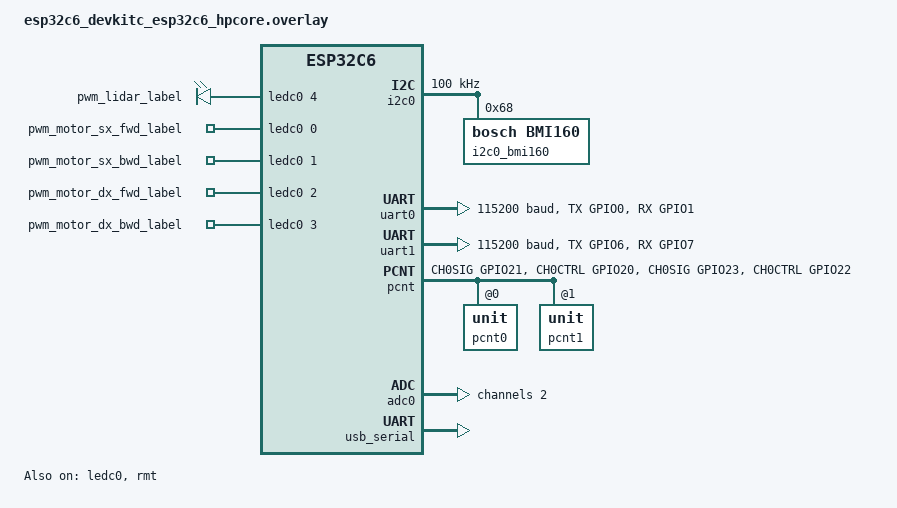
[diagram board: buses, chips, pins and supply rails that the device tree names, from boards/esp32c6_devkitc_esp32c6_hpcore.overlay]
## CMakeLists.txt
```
cmake_minimum_required(VERSION 3.20.0)

find_package(Zephyr REQUIRED HINTS $ENV{ZEPHYR_BASE})
project(robot_app)

set(DTS_ROOT ${CMAKE_CURRENT_SOURCE_DIR})

list(APPEND CMAKE_MODULE_PATH ${ZEPHYR_BASE}/modules/nanopb)
include(nanopb)

if(DISABLE_BATTERY_CHECK)
    target_compile_definitions(app PRIVATE DISABLE_BATTERY_CHECK)
endif()

target_sources(app PRIVATE 
    src/main.cpp
    src/robot.cpp
    src/communication/zephyr_net_client.cpp
    src/communication/wifi_manager.cpp
    src/communication/protobuf_handler.cpp
    src/actuator/motor.cpp
    src/actuator/status_led.cpp
    src/diagnostic.cpp
    src/sensors/lidar.cpp
    src/sensors/imu.cpp
    src/sensors/battery.cpp
    src/sensors/encoders.cpp
    src/sensors/pcnt_reader.c
)

if(CONFIG_BOARD_NATIVE_SIM)
    find_package(PkgConfig REQUIRED)
    pkg_check_modules(GZ_TRANSPORT REQUIRED IMPORTED_TARGET gz-transport)
    pkg_check_modules(GZ_MSGS REQUIRED IMPORTED_TARGET gz-msgs)
    
    # Get Protobuf include directory explicitly to force it first for Gazebo compatibility
    pkg_check_modules(GZ_PROTOBUF REQUIRED protobuf)
    target_include_directories(app BEFORE PRIVATE ${GZ_PROTOBUF_INCLUDE_DIRS})
    
    target_sources(app PRIVATE src/bridge/gazebo_bridge.cpp)
    
    # Provide include directories for Gazebo headers
    target_include_directories(app PRIVATE 
        ${GZ_TRANSPORT_INCLUDE_DIRS} 
        ${GZ_MSGS_INCLUDE_DIRS}
    )

    # Enable C++17 for Gazebo headers
    target_compile_features(app PRIVATE cxx_std_17)
    
    # Prevent Protobuf version check errors
    target_compile_definitions(app PRIVATE 
        PROTOBUF_USE_DLLS
    )
    
    # Link Gazebo libraries using absolute paths for the native_simulator Makefile
    foreach(lib ${GZ_TRANSPORT_LIBRARIES} ${GZ_MSGS_LIBRARIES})
        find_library(LIB_PATH_${lib} NAMES ${lib} HINTS ${GZ_TRANSPORT_LIBRARY_DIRS} ${GZ_MSGS_LIBRARY_DIRS})
        if(LIB_PATH_${lib})
            set_property(TARGET native_simulator APPEND PROPERTY RUNNER_LINK_LIBRARIES ${LIB_PATH_${lib}})
        endif()
    endforeach()

    # Also link Protobuf and its dependencies explicitly as they are required by Gazebo
    foreach(lib ${GZ_PROTOBUF_LIBRARIES})
        find_library(LIB_PATH_${lib} NAMES ${lib} HINTS ${GZ_PROTOBUF_LIBRARY_DIRS})
        if(LIB_PATH_${lib})
            set_property(TARGET native_simulator APPEND PROPERTY RUNNER_LINK_LIBRARIES ${LIB_PATH_${lib}})
        endif()
    endforeach()
endif()

zephyr_nanopb_sources(app ../proto/messages.proto)

target_include_directories(app PRIVATE src)
zephyr_include_directories(include)
add_subdirectory(drivers)

target_compile_options(app PRIVATE $<$<COMPILE_LANGUAGE:CXX>:-fno-threadsafe-statics> $<$<COMPILE_LANGUAGE:CXX>:-fpermissive>)
```

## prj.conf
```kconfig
# General config
CONFIG_CPP=y
CONFIG_STD_CPP20=y
CONFIG_MAIN_STACK_SIZE=16384
CONFIG_IDLE_STACK_SIZE=2048
CONFIG_ISR_STACK_SIZE=4096
CONFIG_SYSTEM_WORKQUEUE_STACK_SIZE=8192
CONFIG_HEAP_MEM_POOL_SIZE=131072

# Logging
CONFIG_LOG=y
CONFIG_LOG_MODE_DEFERRED=y
CONFIG_LOG_DEFAULT_LEVEL=3
CONFIG_LOG_PRINTK=y
CONFIG_CBPRINTF_FP_SUPPORT=y
CONFIG_CBPRINTF_COMPLETE=y

# Console
CONFIG_CONSOLE=y
CONFIG_PRINTK=y
CONFIG_BOOT_BANNER=y

# Networking
CONFIG_NETWORKING=y
CONFIG_NET_IPV4=y
CONFIG_NET_TCP=y
CONFIG_NET_UDP=y
CONFIG_NET_SOCKETS=y

# Protobuf (nanopb)
CONFIG_NANOPB=y
```

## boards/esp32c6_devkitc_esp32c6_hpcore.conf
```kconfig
# Hardware features specific to ESP32-C6 HP Core
CONFIG_PICOLIBC=y
CONFIG_FPU=n

# Bootloader (Using MCUboot)
CONFIG_ESP_SIMPLE_BOOT=n
CONFIG_ESPTOOLPY_FLASHFREQ_40M=y
CONFIG_ESPTOOLPY_FLASHMODE_DIO=y

# Console & Serial
CONFIG_UART_CONSOLE=y
CONFIG_UART_ESP32=y
CONFIG_SERIAL=y
CONFIG_UART_INTERRUPT_DRIVEN=y
CONFIG_SERIAL_ESP32_USB=y
CONFIG_LOG_BACKEND_UART=y

# Wi-Fi Networking
CONFIG_NET_L2_WIFI_MGMT=y
CONFIG_WIFI=y
CONFIG_WIFI_ESP32=y

# WiFi static config via Manager
CONFIG_NET_CONFIG_SETTINGS=y
CONFIG_NET_CONFIG_MY_IPV4_ADDR="192.168.199.123"
CONFIG_NET_CONFIG_MY_IPV4_GW="192.168.199.254"
CONFIG_NET_CONFIG_MY_IPV4_NETMASK="255.255.255.0"

# Sensors
CONFIG_SENSOR=y
CONFIG_I2C=y
CONFIG_BMI160=y
CONFIG_BMI160_TRIGGER_NONE=y

# Peripherals
CONFIG_PWM=y
CONFIG_GPIO=y
CONFIG_ADC=y
CONFIG_PCNT_ESP32=y

# RMT LED
CONFIG_RMT_TX=y
CONFIG_RMT_TX_ESP32=y
CONFIG_RMT_TX_LOG_LEVEL_DBG=y
CONFIG_RMT_TX_INIT_PRIORITY=80
CONFIG_RMT_TX_CHANNEL_INIT_PRIORITY=90

# MCUboot & OTA Configuration
CONFIG_BOOTLOADER_MCUBOOT=y
CONFIG_ZCBOR=y
CONFIG_MCUMGR=y
CONFIG_MCUMGR_TRANSPORT_UDP=y
CONFIG_MCUMGR_GRP_IMG=y
CONFIG_MCUMGR_GRP_OS=y
CONFIG_FLASH=y
CONFIG_FLASH_MAP=y
CONFIG_STREAM_FLASH=y
CONFIG_IMG_MANAGER=y

# Remote syslog over UDP (Wi-Fi)
CONFIG_LOG_BACKEND_NET=y
CONFIG_LOG_BACKEND_NET_SERVER="192.168.199.120:1514"
CONFIG_LOG_BACKEND_NET_AUTOSTART=y
```

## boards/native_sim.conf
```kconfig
# Enable networking for Linux host using offloaded sockets
# This avoids the need for TAP devices and root privileges
CONFIG_NET_DRIVERS=y
CONFIG_NET_SOCKETS=y
CONFIG_NET_UDP=y
CONFIG_NET_TCP=y
CONFIG_NET_IPV4=y
CONFIG_NET_SOCKETS_OFFLOAD=y
CONFIG_NET_NATIVE_OFFLOADED_SOCKETS=y

# Disable native ethernet tap to avoid permission issues
CONFIG_ETH_NATIVE_TAP=n

# Disable hardware-specific configs that don't apply to native_sim
CONFIG_WIFI=n
CONFIG_WIFI_ESP32=n
CONFIG_ADC=n
CONFIG_PWM=n
CONFIG_I2C=n
CONFIG_PCNT_ESP32=n
CONFIG_UART_ESP32=n
CONFIG_SERIAL_ESP32_USB=n
CONFIG_ESP_SIMPLE_BOOT=n
CONFIG_RMT_TX_ESP32=n
CONFIG_RMT_TX=n

# Disable sensor drivers that depend on HW
CONFIG_BMI160=n
CONFIG_BMI160_TRIGGER_NONE=n

# Simulation specific
CONFIG_POSIX_API=y

# Enable host C++ and Libc support
CONFIG_EXTERNAL_LIBC=y
CONFIG_EXTERNAL_LIBCPP=y
CONFIG_CPP=y
CONFIG_STD_CPP17=y
CONFIG_CPP_EXCEPTIONS=y
CONFIG_CPP_RTTI=y


# Disable embedded-specific libs that conflict with host headers
CONFIG_PICOLIBC=n
CONFIG_MINIMAL_LIBC=n
CONFIG_NEWLIB_LIBC=n
```

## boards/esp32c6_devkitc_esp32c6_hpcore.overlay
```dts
#include <zephyr/dt-bindings/pinctrl/esp-pinctrl-common.h>
#include <zephyr/dt-bindings/pinctrl/esp32c6-pinctrl.h>
#include <zephyr/dt-bindings/pinctrl/esp32c6-gpio-sigmap.h>
#include <zephyr/dt-bindings/pwm/pwm.h>

/ {
    chosen {
        zephyr,console = &uart0;
        zephyr,shell-uart = &uart0;
    };

    /* Aliases for easy access in code */
    aliases {
        lidar-uart = &uart1;
        imu = &i2c0_bmi160;
        motor-sx-fwd-pwm = &pwm_motor_sx_fwd_label;
        motor-sx-bwd-pwm = &pwm_motor_sx_bwd_label;
        motor-dx-fwd-pwm = &pwm_motor_dx_fwd_label;
        motor-dx-bwd-pwm = &pwm_motor_dx_bwd_label;
        encoder-sx = &pcnt;
        encoder-dx = &pcnt;
        status-led = &rmt_led;
        lidar-pwm = &pwm_lidar_label;
    };

    soc {
        rmt: rmt@60006000 {
            compatible = "espressif,esp32-rmt-tx";
            reg = <0x60006000 0x1000>;
            interrupts = <10 0 0>;
            interrupt-parent = <&intc>;
            clocks = <&clock 9>;
            #address-cells = <1>;
            #size-cells = <0>;
            status = "okay";
            pinctrl-0 = <&rmt_default>;
            pinctrl-names = "default";

            rmt_led: channel@0 {
                reg = <0>;
                label = "rmt_led";
                gpios = <&gpio0 8 GPIO_ACTIVE_HIGH>;
            };
        };
    };

    pwm_lidar_group {
        compatible = "pwm-leds";
        pwm_lidar_label: lidar_pwm {
            pwms = <&ledc0 4 50000 PWM_POLARITY_NORMAL>;
        };
    };

    pwm_motors {
        compatible = "pwm-leds";
        pwm_motor_sx_fwd_label: motor_sx_fwd {
            pwms = <&ledc0 0 50000 PWM_POLARITY_NORMAL>;
        };
        pwm_motor_sx_bwd_label: motor_sx_bwd {
            pwms = <&ledc0 1 50000 PWM_POLARITY_NORMAL>;
        };
        pwm_motor_dx_fwd_label: motor_dx_fwd {
            pwms = <&ledc0 2 50000 PWM_POLARITY_NORMAL>;
        };
        pwm_motor_dx_bwd_label: motor_dx_bwd {
            pwms = <&ledc0 3 50000 PWM_POLARITY_NORMAL>;
        };
    };
};

&pinctrl {
    i2c0_default: i2c0_default {
        group1 {
            pinmux = <I2C0_SDA_GPIO4>,
                     <I2C0_SCL_GPIO5>;
            bias-pull-up;
            drive-open-drain;
            output-enable;
        };
    };

    uart0_default: uart0_default {
        group1 {
            pinmux = <UART0_TX_GPIO0>,
                     <UART0_RX_GPIO1>;
        };
    };

    uart0_sleep: uart0_sleep {
        group1 {
            pinmux = <UART0_TX_GPIO0>,
                     <UART0_RX_GPIO1>;
        };
    };

    uart1_default: uart1_default {
        group1 {
            pinmux = <UART1_TX_GPIO6>;
        };
        group2 {
            pinmux = <UART1_RX_GPIO7>;
            bias-pull-up;
        };
    };

    uart1_sleep: uart1_sleep {
        group1 {
            pinmux = <UART1_TX_GPIO6>,
                     <UART1_RX_GPIO7>;
        };
    };

    ledc0_default: ledc0_default {
        group1 {
            pinmux = <LEDC_CH0_GPIO19>,
                     <LEDC_CH1_GPIO18>,
                     <LEDC_CH2_GPIO11>,
                     <LEDC_CH3_GPIO10>,
                     <LEDC_CH4_GPIO3>;
            output-enable;
        };
    };

    pcnt_default: pcnt_default {
        group1 {
            pinmux = <PCNT0_CH0SIG_GPIO21>,
                     <PCNT0_CH0CTRL_GPIO20>,
                     <PCNT1_CH0SIG_GPIO23>,
                     <PCNT1_CH0CTRL_GPIO22>;
            bias-pull-up;
        };
    };

    rmt_default: rmt_default {
        group1 {
            pinmux = <ESP32_PINMUX(8, ESP_NOSIG, ESP_RMT_SIG_OUT0)>;
            output-enable;
        };
    };
};

&i2c0 {
    status = "okay";
    pinctrl-0 = <&i2c0_default>;
    pinctrl-names = "default";
    clock-frequency = <I2C_BITRATE_STANDARD>;

    i2c0_bmi160: bmi160@68 {
        compatible = "bosch,bmi160";
        reg = <0x68>;
        status = "okay";
    };
};

&uart0 {
    status = "okay";
    pinctrl-0 = <&uart0_default>;
    pinctrl-1 = <&uart0_sleep>;
    pinctrl-names = "default", "sleep";
    current-speed = <115200>;
};

&uart1 {
    status = "okay";
    pinctrl-0 = <&uart1_default>;
    pinctrl-1 = <&uart1_sleep>;
    pinctrl-names = "default", "sleep";
    current-speed = <115200>;
};

&ledc0 {
    status = "okay";
    pinctrl-0 = <&ledc0_default>;
    pinctrl-names = "default";
    #address-cells = <1>;
    #size-cells = <0>;

    pwm_motor_sx_fwd: channel@0 {
        reg = <0>;
        timer = <0>;
    };

    pwm_motor_sx_bwd: channel@1 {
        reg = <1>;
        timer = <0>;
    };

    pwm_motor_dx_fwd: channel@2 {
        reg = <2>;
        timer = <0>;
    };

    pwm_motor_dx_bwd: channel@3 {
        reg = <3>;
        timer = <0>;
    };
 
    pwm_lidar: channel@4 {
        reg = <4>;
        timer = <0>;
    };
};

&pcnt {
    pinctrl-0 = <&pcnt_default>;
    pinctrl-names = "default";
    status = "okay";
    #address-cells = <1>;
    #size-cells = <0>;
    pcnt0: unit@0 {
        reg = <0>;
        #address-cells = <1>;
        #size-cells = <0>;
        filter = <1023>;
        channelA@0 {
            reg = <0>;
            sig-pos-mode = <2>;
            sig-neg-mode = <1>;
            ctrl-h-mode = <0>;
            ctrl-l-mode = <1>;
        };
    };
    pcnt1: unit@1 {
        reg = <1>;
        #address-cells = <1>;
        #size-cells = <0>;
        filter = <1023>;
        channelA@0 {
            reg = <0>;
            sig-pos-mode = <2>;
            sig-neg-mode = <1>;
            ctrl-h-mode = <0>;
            ctrl-l-mode = <1>;
        };
    };
};

&adc0 {
    status = "okay";
    #address-cells = <1>;
    #size-cells = <0>;

    channel@2 {
        reg = <2>;
        zephyr,gain = "ADC_GAIN_1_4";
        zephyr,reference = "ADC_REF_INTERNAL";
        zephyr,acquisition-time = <ADC_ACQ_TIME_DEFAULT>;
        zephyr,resolution = <12>;
    };
};

&usb_serial {
    status = "okay";
};

&flash0 {
    partitions {
        compatible = "fixed-partitions";
        #address-cells = <1>;
        #size-cells = <1>;

        boot_partition: partition@0 {
            label = "mcuboot";
            reg = <0x00000000 0x00010000>;
        };
        slot0_partition: partition@10000 {
            label = "image-0";
            reg = <0x00010000 0x00200000>;
        };
        slot1_partition: partition@210000 {
            label = "image-1";
            reg = <0x00210000 0x00200000>;
        };
        scratch_partition: partition@410000 {
            label = "image-scratch";
            reg = <0x00410000 0x00040000>;
        };
        storage_partition: partition@450000 {
            label = "storage";
            reg = <0x00450000 0x00010000>;
        };
    };
};
```

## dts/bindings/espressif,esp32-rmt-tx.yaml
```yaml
description: Espressif ESP32 RMT TX peripheral

compatible: "espressif,esp32-rmt-tx"

include: [base.yaml, pinctrl-device.yaml]

properties:
  reg:
    required: true
  interrupts:
    required: true
  clocks:
    required: true

child-binding:
  description: RMT TX channel
  properties:
    reg:
      required: true
      type: int
      description: Channel index
    label:
      type: string
      description: Human readable name
    gpios:
      required: true
      type: phandle-array
    invert_out:
      type: boolean
      description: Invert the output signal
```

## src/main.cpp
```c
#include <zephyr/kernel.h>
#include <zephyr/sys/printk.h>
#include "robot.h"
#include "constants.h"

#if defined(CONFIG_BOARD_NATIVE_SIM)
#include "bridge/gazebo_bridge.h"
#endif

#if !defined(CONFIG_BOARD_NATIVE_SIM)
extern "C" {
#include <esp_rom_sys.h>
}
#endif

extern "C" int main(void)
{
#if defined(CONFIG_BOARD_NATIVE_SIM)
    printk("\n\n--- HomeRobot Zephyr native_sim Entry Point ---\n");
#else
    esp_rom_printf("\n\n--- HomeRobot Zephyr Entry Point ---\n");
#endif

    k_sleep(K_MSEC(500));

    static Robot robot;
    robot.setup();

    while (1) {
        robot.loop();
        k_msleep(constants::MAIN_LOOP_DELAY_MS);
        k_yield();
    }

	return 0;
}
```

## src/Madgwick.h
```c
//=============================================================================================
// Madgwick.h
//=============================================================================================
//
// Implementation of Madgwick's IMU and AHRS algorithms.
// See: http://www.x-io.co.uk/open-source-imu-and-ahrs-algorithms/
//
// From the x-io website "Open-source resources available on this website are
// provided under the GNU General Public Licence unless an alternative licence
// is provided in source."
//
// Date			Author          Notes
// 29/09/2011	SOH Madgwick    Initial release
// 02/10/2011	SOH Madgwick	Optimised for reduced CPU load
//
//=============================================================================================
#ifndef __Madgwick_h__
#define __Madgwick_h__
#include <math.h>
#include <stdint.h>

//--------------------------------------------------------------------------------------------
// Variable declaration
class Madgwick {
  private:
    float delta_t = 0; // Used to control display output rate
    uint32_t now = 0;        // used to calculate integration interval
    uint32_t last_update = 0; // used to calculate integration interval
    static float invSqrt(float x);
    float beta;				// algorithm gain
    float q0;
    float q1;
    float q2;
    float q3;	// quaternion of sensor frame relative to auxiliary frame
    

    //-------------------------------------------------------------------------------------------
    // Function declarations
  public:
    Madgwick(void);
    void changeBeta(float newBeta) { beta = newBeta; }
    void begin(float confBeta) { beta = confBeta; }
    void update(float gx, float gy, float gz, float ax, float ay, float az, float mx, float my, float mz);
    void updateIMU(float gx, float gy, float gz, float ax, float ay, float az);

    float getQuatW() {
      return q0;
    }

    float getQuatX() {
      return q1;
    }

    float getQuatY() {
      return q2;
    }

    float getQuatZ() {
      return q3;
    }

};
#endif
```

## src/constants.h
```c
#pragma once

#include <zephyr/kernel.h>

namespace constants {
    // Telemetry Intervals (milliseconds)
    constexpr uint32_t HEARTBEAT_INTERVAL_MS = 1000;
    constexpr uint32_t ENCODER_TELEMETRY_INTERVAL_MS = 1000;
    constexpr uint32_t BATTERY_TELEMETRY_INTERVAL_MS = 30000;
    
    // Lidar Configuration
    constexpr size_t LIDAR_BATCH_SIZE = 30;
    constexpr float LIDAR_DEFAULT_FREQ_HZ = 5.0f;

    // Networking
    constexpr uint32_t WIFI_CONNECT_TIMEOUT_MS = 30000;
    constexpr uint32_t SERVER_RECONNECT_INTERVAL_MS = 5000;

    // Main Loop
    constexpr uint32_t MAIN_LOOP_DELAY_MS = 5; // 200Hz loop

    // Robot Capabilities & Specifications
    constexpr bool HAS_ACCELEROMETER = true;
    constexpr bool HAS_GYROSCOPE = true;
    constexpr bool HAS_MAGNETOMETER = false; // BMI160 only has accel/gyro
    constexpr float WHEEL_DIAMETER_MM = 79.85f;
    constexpr float WHEEL_TRACK_MM = 240.0f;
    constexpr int32_t ENCODER_TICKS_PER_REV = 360;
}
```

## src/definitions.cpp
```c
#include "definitions.h"

#include <Elog.h>
#include <Wire.h>

#include "actuator/Motor_PID/Motor_PID.h"
#include "communication/protocol.h"
#include "secrets.h"

Encoder* encoder_sx;
Encoder* encoder_dx;
Motor* motor_sx;
Motor* motor_dx;

Protocol* protocol;

// Fix build error TODO investigate real solution
extern "C" void lwip_hook_ip6_input() {}

void init_wifi() {
  // Set static IP
  if (!WiFi.config(local_IP, gateway, subnet)) {
    Logger.error(PROTO_LOGGER, "Failed to configure static IP");
  }

  WiFi.begin(wifi_ssid, wifi_password);

  int retries = 5;
  while (WiFi.status() != WL_CONNECTED && retries-- > 0) {
    Logger.info(PROTO_LOGGER, "Trying to connect to WiFi...");
    delay(2000);
  }
  if (WiFi.status() != WL_CONNECTED) {
    // TODO this could lead to boot loops
    Logger.error(PROTO_LOGGER, "Unable to connect to WiFi restarting ESP");
    ESP.restart();
  }

  Logger.info(PROTO_LOGGER, "Connected to WiFi");
}

void restart_wifi() {
  Logger.error(PROTO_LOGGER, "WiFi restart");
  WiFi.disconnect();
  WiFi.reconnect();
  sleep(1);
  init_wifi();
}

void init_i2c() {
  Logger.debug(MAIN_LOGGER, "INIT I2C");

  Wire.begin(I2C_SDA, I2C_SCL);
#ifdef WIRE_HAS_TIMEOUT
  Wire.setWireTimeout(30000);
  Logger.info(MAIN_LOGGER, "Timeout");
#endif
}
void init_server_connection() { protocol = new Protocol(); }

void init_motors() {
  Logger.info(MOTOR_LOGGER, "INIT MOTORS - START");
  encoder_sx = new Encoder(ENCODER_SX_A, ENCODER_SX_B);
  encoder_dx = new Encoder(ENCODER_DX_A, ENCODER_DX_B);

  motor_sx =
      new Motor("SX", encoder_sx, MOTOR_SX_FORWARD, MOTOR_SX_BACKWARD, MOTOR_SX_PWM,
                MOTOR_PWM_LOWER_LIMIT, MOTOR_PWM_UPPER_LIMIT);
  motor_dx =
      new Motor("DX", encoder_dx, MOTOR_DX_FORWARD, MOTOR_DX_BACKWARD, MOTOR_DX_PWM,
                MOTOR_PWM_LOWER_LIMIT, MOTOR_PWM_UPPER_LIMIT);

  // Logger.info(MAIN_LOGGER, "SX: %d", encoder_dx->get_interrupts());// SX: 2
  // Logger.info(MAIN_LOGGER, "DX: %d", encoder_dx->get_interrupts());// DX: 2

  motor_sx->init(KP, KI, KD);
  motor_dx->init(KP, KI, KD);
  Logger.info(MOTOR_LOGGER, "INIT MOTORS - END");
}
```

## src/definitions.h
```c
#pragma once

#include <Encoder.h>
#include <HardwareSerial.h>
#include <communication/protocol.h>

#include "actuator/Motor_PID/Motor_PID.h"

#define MAIN_LOGGER 0
#define PROTO_LOGGER 1
#define MOTOR_LOGGER 2
#define LIDAR_LOGGER 3
#define IMU_LOGGER 4



// General motor settings
#define MOTOR_PWM_LOWER_LIMIT 63   // full range 0 - 255
#define MOTOR_PWM_UPPER_LIMIT 255  // full range 0 - 255

// NXT MOTOR: https://trivox.tripod.com/lego-nxt-motor-input-output.html
// MOTOR SX
#define ENCODER_SX_A 21       // BLUE from NXT motor encoder
#define ENCODER_SX_B 20       // YELLOW from NXT motor encoder
#define MOTOR_SX_BACKWARD 18   // in2 from driver to control the direction
#define MOTOR_SX_FORWARD 19  // in1 from driver to control the direction
#define MOTOR_SX_PWM 0        // pwm to control speed pin 0 for full speed

// MOTOR DX
#define ENCODER_DX_A 23       // BLUE from NXT motor encoder
#define ENCODER_DX_B 22       // YELLOW from NXT motor encoder
#define MOTOR_DX_FORWARD 11   // in2 from driver pins to control the direction
#define MOTOR_DX_BACKWARD 10  // in1 from driver pins to control the direction
#define MOTOR_DX_PWM 0        // pwm to control speed pin 0 for full speed

// PID constants
#define KP 1.0
#define KI 0.01
#define KD 0.1

// I2C pins
#define I2C_SDA 4
#define I2C_SCL 5

// Physical sizes
#define CENTER_TO_WHEEL 100  // millimeters TODO freecad check
#define CENTER_TO_LIDAR 100  // Millimeters TODO freecad check

extern int pwm_lower_limit;
extern int pwm_upper_limit;

extern Encoder* encoder_sx;
extern Motor* motor_sx;
extern Encoder* encoder_dx;
extern Motor* motor_dx;

extern Protocol* protocol;

void init_wifi();
void restart_wifi();
void init_i2c();
void init_server_connection();
void init_motors();
```

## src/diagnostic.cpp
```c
#include "diagnostic.h"
#include <zephyr/logging/log.h>
#include <zephyr/kernel.h>
#include <math.h>
#include <stdio.h>
#include <string.h>

LOG_MODULE_REGISTER(Diagnostic, LOG_LEVEL_INF);

Diagnostic::Diagnostic(Motor& left_motor, Motor& right_motor, Imu& imu, 
                       Battery& battery, StatusLed& led)
    : left_motor_(left_motor), right_motor_(right_motor), imu_(imu), 
      battery_(battery), led_(led) {}

void Diagnostic::add_check(homerobot_DiagnosticResult& result, const char* name, bool success, const char* msg) {
    if (result.checks_count < 5) {
        homerobot_DiagnosticCheck& check = result.checks[result.checks_count++];
        strncpy(check.name, name, sizeof(check.name) - 1);
        check.name[sizeof(check.name) - 1] = '\0';
        check.success = success;
        strncpy(check.message, msg, sizeof(check.message) - 1);
        check.message[sizeof(check.message) - 1] = '\0';
    }
}

homerobot_DiagnosticResult Diagnostic::run_rpc() {
    homerobot_DiagnosticResult result = homerobot_DiagnosticResult_init_default;
    result.checks_count = 0;
    
    // Stop motors and lidar before test
    left_motor_.turn_off();
    right_motor_.turn_off();

    bool battery_ok = test_battery(&result);
    bool imu_ok = test_imu(&result);
    bool motors_ok = false;

    if (battery_ok) {
        motors_ok = test_motors_and_encoders(&result);
    } else {
        add_check(result, "Motors", false, "Skipped due to low battery");
    }

    result.all_ok = battery_ok && imu_ok && motors_ok;
    return result;
}

bool Diagnostic::run_all() {
    LOG_INF( "--- STARTING HARDWARE DIAGNOSTICS ---");
    
    // 1. LED Test: Visual confirmation
    led_.set_color(0, 0, 50); // Blue for "Testing"
    k_msleep(500);
    led_.set_color(0, 50, 0); // Green for "Starting"
    k_msleep(500);
    led_.set_color(0, 0, 0);

    bool battery_ok = test_battery();
    bool imu_ok = test_imu();
    
    if (!battery_ok) {
        LOG_ERR( "Critical: Battery test failed!");
        led_.set_color(50, 0, 0); // Solid Red
        return false;
    }

    if (!imu_ok) {
        LOG_WRN( "Warning: IMU test failed!");
    }

    bool motors_ok = test_motors_and_encoders();

    if (battery_ok && imu_ok && motors_ok) {
        LOG_INF( "--- DIAGNOSTICS COMPLETED: ALL OK ---");
        led_.set_color(0, 50, 0); // Success Green
        k_msleep(1000);
        return true;
    } else {
        LOG_WRN( "--- DIAGNOSTICS COMPLETED: ERRORS FOUND ---");
        led_.set_color(50, 25, 0); // Warning Orange
        k_msleep(1000);
        return false;
    }
}

bool Diagnostic::test_battery(homerobot_DiagnosticResult* result) {
    uint32_t mv = battery_.get_voltage_mv();
    uint32_t pct = battery_.get_percentage();
    LOG_INF( "Battery: %u mV (%u%%)", mv, pct);

    char msg[128];
    snprintf(msg, sizeof(msg), "Voltage: %u mV, %u%%", mv, pct);

    if (mv < 10000) { 
        LOG_ERR( "Battery voltage dangerously low or not detected!");
        if (result) add_check(*result, "Battery", false, msg);
        return false;
    }
    if (result) add_check(*result, "Battery", true, msg);
    return true;
}

bool Diagnostic::test_imu(homerobot_DiagnosticResult* result) {
    LOG_INF("IMU: Starting detailed check...");
    if (!imu_.update()) {
        LOG_ERR( "IMU: Communication failed! (sample_fetch error)");
        if (result) add_check(*result, "IMU", false, "Communication failed");
        return false;
    }

    float ax, ay, az, gx, gy, gz;
    imu_.get_accel(ax, ay, az);
    imu_.get_gyro(gx, gy, gz);
    
    float total_g = sqrt(ax*ax + ay*ay + az*az);
    
    LOG_INF("IMU: Raw Accel -> X: %.3f, Y: %.3f, Z: %.3f (Total: %.3f m/s^2)", (double)ax, (double)ay, (double)az, (double)total_g);
    LOG_INF("IMU: Raw Gyro  -> X: %.3f, Y: %.3f, Z: %.3f", (double)gx, (double)gy, (double)gz);

    char msg[128];
    snprintf(msg, sizeof(msg), "Acc:%.1f G:%.1f Gyro:%.1f", (double)total_g, (double)(total_g/9.81f), (double)sqrt(gx*gx + gy*gy + gz*gz));

    if (total_g < 7.0f || total_g > 13.0f) {
        LOG_WRN( "IMU: Gravity vector (%.2f) outside Earth normal range [7, 13]", (double)total_g);
        if (result) add_check(*result, "IMU", false, msg);
        return false;
    }
    
    LOG_INF("IMU: Sensor health OK.");
    if (result) add_check(*result, "IMU", true, msg);
    return true;
}

bool Diagnostic::test_motors_and_encoders(homerobot_DiagnosticResult* result) {
    LOG_INF( "Starting Motor/Encoder sequential test...");
    
    bool left_ok = test_single_motor(left_motor_, "Left Motor (SX)", result);
    k_msleep(500); // Brief pause between motor tests
    bool right_ok = test_single_motor(right_motor_, "Right Motor (DX)", result);

    return left_ok && right_ok;
}

bool Diagnostic::test_single_motor(Motor& motor, const char* name, homerobot_DiagnosticResult* result) {
    LOG_INF( "Testing %s...", name);
    
    // Get baseline IMU for vibration detection
    imu_.update();
    float bax, bay, baz;
    imu_.get_accel(bax, bay, baz);
    
    VibrationMetrics vib;
    vib.reset();

    motor.set_position(0);
    int32_t start_pos = motor.get_position();
    
    // Forward test
    motor.set_motor(FORWARD, 100);
    for (int i = 0; i < 5; i++) {
        k_msleep(100);
        sample_vibration(vib, bax, bay, baz);
    }
    
    motor.set_motor(BRAKE, 0);
    k_msleep(200);
    int32_t fwd_pos = motor.get_position();
    int32_t fwd_diff = fwd_pos - start_pos;
    
    // Backward test
    motor.set_motor(BACKWARD, 100);
    for (int i = 0; i < 5; i++) {
        k_msleep(100);
        sample_vibration(vib, bax, bay, baz);
    }

    motor.set_motor(BRAKE, 0);
    k_msleep(200);
    int32_t bwd_pos = motor.get_position();
    int32_t bwd_diff = bwd_pos - fwd_pos;
    
    bool fwd_ok = fwd_diff > 10;
    bool bwd_ok = bwd_diff < -10;
    
    // Health assessment based on vibration
    // Values are heuristic: > 5.0g deviation is very high, > 20 rad/s gyro is very high.
    bool vib_ok = vib.max_acc_vibration < 5.0f && vib.max_gyro_vibration < 15.0f;

    char msg[128];
    snprintf(msg, sizeof(msg), "Fwd:%d Bwd:%d Vib:%.1f/%.1f", 
             fwd_diff, bwd_diff, (double)vib.max_acc_vibration, (double)vib.max_gyro_vibration);

    if (!fwd_ok || !bwd_ok) {
        LOG_ERR( "%s: Failed motion test (%s)", name, msg);
        if (result) add_check(*result, name, false, msg);
        return false;
    }

    if (!vib_ok) {
        LOG_WRN( "%s: High vibration detected! (%s)", name, msg);
        // We still pass the test but report the warning in the message
    }

    if (result) add_check(*result, name, true, msg);
    return true;
}

void Diagnostic::sample_vibration(VibrationMetrics& metrics, float bax, float bay, float baz) {
    if (imu_.update()) {
        float ax, ay, az, gx, gy, gz;
        imu_.get_accel(ax, ay, az);
        imu_.get_gyro(gx, gy, gz);
        
        // Deviation from baseline gravity vector
        float dev_acc = sqrtf(powf(ax - bax, 2) + powf(ay - bay, 2) + powf(az - baz, 2));
        float dev_gyro = sqrtf(gx*gx + gy*gy + gz*gz);
        
        if (dev_acc > metrics.max_acc_vibration) metrics.max_acc_vibration = dev_acc;
        if (dev_gyro > metrics.max_gyro_vibration) metrics.max_gyro_vibration = dev_gyro;

        LOG_DBG( "  [Vib Sample] Acc Dev: %.2f Gyro: %.2f", (double)dev_acc, (double)dev_gyro);
    }
}
```

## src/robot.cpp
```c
#include "robot.h"
#include <pb_decode.h>
#include <pb_encode.h>
#include <zephyr/logging/log.h>
#include <zephyr/sys/printk.h>
#include "secrets.h"
#include "constants.h"

#if defined(CONFIG_BOARD_NATIVE_SIM)
#include "bridge/gazebo_bridge.h"
#endif

LOG_MODULE_REGISTER(robot, LOG_LEVEL_INF);

using namespace constants;

#if !defined(CONFIG_BOARD_NATIVE_SIM)
// Define static DT specs
const struct device *const Robot::lidar_uart_dev = DEVICE_DT_GET(DT_ALIAS(lidar_uart));
const struct pwm_dt_spec Robot::lidar_pwm = PWM_DT_SPEC_GET(DT_ALIAS(lidar_pwm));
const struct device *const Robot::adc_dev = DEVICE_DT_GET(DT_NODELABEL(adc0));
const struct device *const Robot::imu_dev = DEVICE_DT_GET(DT_ALIAS(imu));
const struct pwm_dt_spec Robot::motor_sx_fwd = PWM_DT_SPEC_GET(DT_ALIAS(motor_sx_fwd_pwm));
const struct pwm_dt_spec Robot::motor_sx_bwd = PWM_DT_SPEC_GET(DT_ALIAS(motor_sx_bwd_pwm));
const struct pwm_dt_spec Robot::motor_dx_fwd = PWM_DT_SPEC_GET(DT_ALIAS(motor_dx_fwd_pwm));
const struct pwm_dt_spec Robot::motor_dx_bwd = PWM_DT_SPEC_GET(DT_ALIAS(motor_dx_bwd_pwm));
const struct device *const Robot::encoder_dev = DEVICE_DT_GET(DT_ALIAS(encoder_sx));
#else
// Dummy values for simulation
const struct device *const Robot::lidar_uart_dev = nullptr;
const struct pwm_dt_spec Robot::lidar_pwm = {0};
const struct device *const Robot::adc_dev = nullptr;
const struct device *const Robot::imu_dev = nullptr;
const struct pwm_dt_spec Robot::motor_sx_fwd = {0};
const struct pwm_dt_spec Robot::motor_sx_bwd = {0};
const struct pwm_dt_spec Robot::motor_dx_fwd = {0};
const struct pwm_dt_spec Robot::motor_dx_bwd = {0};
const struct device *const Robot::encoder_dev = nullptr;
#endif

Robot::Robot()
    : status_led_(),
      battery_(adc_dev, 2),
      lidar_(lidar_uart_dev, &lidar_pwm),
      imu_(imu_dev),
      enc_sx_(encoder_dev, 0),
      enc_dx_(encoder_dev, 1),
      motor_sx_("SX", &motor_sx_fwd, &motor_sx_bwd, &enc_sx_, true),
      motor_dx_("DX", &motor_dx_fwd, &motor_dx_bwd, &enc_dx_, false),
      wifi_(WifiManager::instance()),
      net_client_(),
      proto_handler_(net_client_),
      diagnostic_(motor_sx_, motor_dx_, imu_, battery_, status_led_) {
    LOG_DBG("Robot object constructed");
}

void Robot::setup() {
    LOG_INF("--- Robot State Machine Starting ---");
#if defined(CONFIG_BOARD_NATIVE_SIM)
    GazeboBridge::init();
    GazeboBridge::start();
#endif
    status_led_.init();
    battery_.init();
    LOG_INF("Initial State: %s", state_to_string(state_));
}

void Robot::set_state(RobotState new_state) {
    if (state_ == new_state) return;
    LOG_INF("State Transition: %s -> %s", state_to_string(state_), state_to_string(new_state));
    state_ = new_state;
}

const char* Robot::state_to_string(RobotState state) {
    switch (state) {
        case RobotState::POWER_CHECK: return "POWER_CHECK";
        case RobotState::INITIALIZE_HARDWARE: return "INITIALIZE_HARDWARE";
        case RobotState::WIFI_CONNECTING: return "WIFI_CONNECTING";
        case RobotState::SERVER_CONNECTING: return "SERVER_CONNECTING";
        case RobotState::OPERATIONAL: return "OPERATIONAL";
        default: return "UNKNOWN";
    }
}

void Robot::loop() {
    switch (state_) {
        case RobotState::POWER_CHECK:
            handle_power_check();
            break;
        case RobotState::INITIALIZE_HARDWARE:
            handle_initialize_hardware();
            break;
        case RobotState::WIFI_CONNECTING:
            handle_wifi_connecting();
            break;
        case RobotState::SERVER_CONNECTING:
            handle_server_connecting();
            break;
        case RobotState::OPERATIONAL:
            handle_operational();
            break;
    }
 
    // Handle Lidar stop timeout on server disconnection
    if (state_ != RobotState::OPERATIONAL && !lidar_stopped_due_to_disconnect_) {
        if (disconnect_time_ms_ != 0 && k_uptime_get_32() - disconnect_time_ms_ >= 10000) {
            LOG_INF("Disconnected from server for >= 10s. Stopping Lidar...");
            lidar_.stop();
            lidar_stopped_due_to_disconnect_ = true;
        }
    }
 
    motor_sx_.loop();
    motor_dx_.loop();

    if (motion_active_) {
        if (motor_sx_.target_reached(false) && motor_dx_.target_reached(false)) {
            LOG_INF("ExecuteMotion: Target reached successfully");
            motor_sx_.target_reached(true);
            motor_dx_.target_reached(true);
            motor_sx_.set_manual_power(BRAKE, 0);
            motor_dx_.set_manual_power(BRAKE, 0);
            proto_handler_.send_rpc_response(k_uptime_get_32(), active_motion_call_id_, nullptr, 0);
            motion_active_ = false;
        } else if (k_uptime_get_32() - motion_start_time_ms_ > 10000) { // 10s timeout
            LOG_WRN("ExecuteMotion: Safety timeout exceeded");
            motor_sx_.target_reached(true);
            motor_dx_.target_reached(true);
            motor_sx_.set_manual_power(BRAKE, 0);
            motor_dx_.set_manual_power(BRAKE, 0);
            proto_handler_.send_rpc_response(k_uptime_get_32(), active_motion_call_id_, nullptr, 0, "Timeout");
            motion_active_ = false;
        }
    }

    lidar_.loop(&proto_handler_);
    status_led_.update();
}

void Robot::handle_power_check() {
    uint32_t voltage = battery_.get_voltage_mv();
#if defined(DISABLE_BATTERY_CHECK)
    LOG_INF("Power check bypassed (bench power supply mode). Voltage: %u mV", voltage);
#else
    if (voltage < 10000) {
        status_led_.set_status(RobotStatus::LOW_BATTERY);
        static uint32_t last_log = 0;
        if (k_uptime_get_32() - last_log > 2000) {
            LOG_WRN("LOW POWER: %u mV - Please turn on battery switch", voltage);
            last_log = k_uptime_get_32();
        }
        return;
    }
    LOG_INF("Power OK: %u mV", voltage);
#endif

#if defined(CONFIG_BOARD_NATIVE_SIM)
    set_state(RobotState::INITIALIZE_HARDWARE);
#else
    LOG_INF("Starting Wi-Fi connection early...");
    wifi_.connect(wifi_ssid, wifi_password);
    status_led_.set_status(RobotStatus::NO_WIFI);
    set_state(RobotState::WIFI_CONNECTING);
#endif
}

void Robot::handle_initialize_hardware() {
    LOG_INF("Initializing hardware components...");
    enc_sx_.init();
    enc_dx_.init();
    imu_.init();
    LOG_INF("Initializing Lidar...");
    lidar_.init();
    motor_sx_.init(motor_kp_, motor_ki_, motor_kd_);
    motor_dx_.init(motor_kp_, motor_ki_, motor_kd_);
    hardware_initialized_ = true;

    LOG_INF("Hardware ready. Connecting to server...");
    set_state(RobotState::SERVER_CONNECTING);
}

void Robot::handle_wifi_connecting() {
    if (wifi_.is_connected()) {
        LOG_INF("Wi-Fi connected.");
        if (!hardware_initialized_) {
            set_state(RobotState::INITIALIZE_HARDWARE);
        } else {
            set_state(RobotState::SERVER_CONNECTING);
        }
    } else {
        status_led_.set_status(RobotStatus::NO_WIFI);
        
        static uint32_t last_connect_attempt = 0;
        uint32_t now = k_uptime_get_32();
        if (now - last_connect_attempt > 5000) {
            LOG_INF("Retrying Wi-Fi connection...");
            wifi_.connect(wifi_ssid, wifi_password);
            last_connect_attempt = now;
        }
    }
}

void Robot::handle_server_connecting() {
#if !defined(CONFIG_BOARD_NATIVE_SIM)
    if (!wifi_.is_connected()) {
        LOG_WRN("Wi-Fi lost while connecting to server.");
        set_state(RobotState::WIFI_CONNECTING);
        return;
    }
#endif

    status_led_.set_status(RobotStatus::WIFI_ONLY);
    
    const char* server_host = wifi_server_host;
#if defined(CONFIG_BOARD_NATIVE_SIM)
    server_host = "127.0.0.1";
#endif

    LOG_INF("Connecting to server: %s:%d", server_host, wifi_server_port);

    if (net_client_.connect(server_host, wifi_server_port)) {
        LOG_INF("CONNECTED to server at %s:%d", server_host, wifi_server_port);
        status_led_.set_status(RobotStatus::CONNECTED);
        
        // Small delay to ensure the network stack is ready for transmission
        k_msleep(100);
        
        // Send current config on connection
        if (net_client_.connected()) {
            proto_handler_.send_robot_config(k_uptime_get_32(),
                motor_kp_, motor_ki_, motor_kd_, motor_kp_, motor_ki_, motor_kd_, lidar_frequency_);
            
            // Send capabilities on connection
            proto_handler_.send_robot_capabilities(k_uptime_get_32(),
                HAS_ACCELEROMETER,
                HAS_GYROSCOPE,
                HAS_MAGNETOMETER,
                WHEEL_DIAMETER_MM,
                WHEEL_TRACK_MM,
                ENCODER_TICKS_PER_REV
            );
        }
        
        // Reset encoder baselines so the first telemetry packet sends 0 delta
        last_sent_enc_sx_ = motor_sx_.get_position();
        last_sent_enc_dx_ = motor_dx_.get_position();
        
        disconnect_time_ms_ = 0;
        lidar_stopped_due_to_disconnect_ = false;
        set_state(RobotState::OPERATIONAL);
    } else {
        LOG_ERR("Server connection failed, retrying...");
        // Call telemetry even while connecting to see serial logs
        send_telemetry();
        k_sleep(K_MSEC(2000));
    }
}

void Robot::handle_operational() {
#if !defined(CONFIG_BOARD_NATIVE_SIM)
    if (!wifi_.is_connected()) {
        LOG_WRN("Wi-Fi lost, reconnecting...");
        motor_sx_.set_motor(BRAKE, 0);
        motor_dx_.set_motor(BRAKE, 0);
        disconnect_time_ms_ = k_uptime_get_32();
        lidar_stopped_due_to_disconnect_ = false;
        set_state(RobotState::WIFI_CONNECTING);
        return;
    }
#endif

    if (!net_client_.connected()) {
        LOG_WRN("Server connection lost, reconnecting...");
        motor_sx_.set_motor(BRAKE, 0);
        motor_dx_.set_motor(BRAKE, 0);
        disconnect_time_ms_ = k_uptime_get_32();
        lidar_stopped_due_to_disconnect_ = false;
        set_state(RobotState::SERVER_CONNECTING);
        return;
    }

    // 1. Process incoming commands
    process_commands();

    // 2. Periodic telemetry
    send_telemetry();
}

void Robot::process_commands() {
    homerobot_ServerToRobotMessage rx_msg;
    while (proto_handler_.receive_and_decode(rx_msg)) {
        handle_server_message(rx_msg);
    }
}

void Robot::handle_server_message(homerobot_ServerToRobotMessage& msg) {
    if (msg.which_payload == homerobot_ServerToRobotMessage_motor_move_tag) {
        int lp = (int)msg.payload.motor_move.left_power;
        int rp = (int)msg.payload.motor_move.right_power;
        float la = msg.payload.motor_move.left_angle;
        float ra = msg.payload.motor_move.right_angle;
        
        LOG_INF("MOVE: L=%d (%.1f) R=%d (%.1f)", lp, (double)la, rp, (double)ra);

        if (lp == 0) motor_sx_.set_manual_power(BRAKE, 0);
        else motor_sx_.set_manual_power(la >= 0 ? FORWARD : BACKWARD, (uint8_t)lp);

        if (rp == 0) motor_dx_.set_manual_power(BRAKE, 0);
        else motor_dx_.set_manual_power(ra >= 0 ? FORWARD : BACKWARD, (uint8_t)rp);
    }
    else if (msg.which_payload == homerobot_ServerToRobotMessage_motor_config_tag) {
        if (msg.payload.motor_config.has_left_motor) {
            motor_kp_ = msg.payload.motor_config.left_motor.kp;
            motor_ki_ = msg.payload.motor_config.left_motor.ki;
            motor_kd_ = msg.payload.motor_config.left_motor.kd;
            motor_sx_.init(motor_kp_, motor_ki_, motor_kd_);
            motor_dx_.init(motor_kp_, motor_ki_, motor_kd_);
            LOG_INF("PID UPDATED: P=%.3f I=%.3f D=%.3f", (double)motor_kp_, (double)motor_ki_, (double)motor_kd_);
        }
        float freq = msg.payload.motor_config.lidar_frequency;
        if (freq >= 5.0f && freq <= 10.0f) {
            lidar_frequency_ = freq;
            lidar_.set_target_frequency(freq);
            LOG_INF("LIDAR FREQUENCY UPDATED: %.1f Hz", (double)lidar_frequency_);
        }
    }
    else if (msg.which_payload == homerobot_ServerToRobotMessage_rpc_request_tag) {
        if (strcmp(msg.payload.rpc_request.method, "ExecuteMotion") == 0) {
            homerobot_MotionRequest motion_req = homerobot_MotionRequest_init_default;
            pb_istream_t stream = pb_istream_from_buffer(
                msg.payload.rpc_request.payload.bytes,
                msg.payload.rpc_request.payload.size
            );
            if (pb_decode(&stream, homerobot_MotionRequest_fields, &motion_req)) {
                LOG_INF("RPC ExecuteMotion: Type=%d L=%d R=%d MaxPower=%u",
                        motion_req.type, motion_req.left_ticks, motion_req.right_ticks, motion_req.max_power);
                
                motor_sx_.config_set_limit(40, motion_req.max_power);
                motor_dx_.config_set_limit(40, motion_req.max_power);
                
                int32_t current_sx = motor_sx_.get_position();
                int32_t current_dx = motor_dx_.get_position();
                
                motor_sx_.set_target(current_sx + motion_req.left_ticks);
                motor_dx_.set_target(current_dx + motion_req.right_ticks);
                
                motion_active_ = true;
                active_motion_call_id_ = msg.payload.rpc_request.call_id;
                motion_start_time_ms_ = k_uptime_get_32();
            } else {
                LOG_ERR("Failed to decode MotionRequest");
                proto_handler_.send_rpc_response(k_uptime_get_32(), msg.payload.rpc_request.call_id, nullptr, 0, "Decode error");
            }
        } else {
            homerobot_DiagnosticResult result = diagnostic_.run_rpc();
            uint8_t buffer[homerobot_DiagnosticResult_size];
            pb_ostream_t stream = pb_ostream_from_buffer(buffer, sizeof(buffer));
            if (pb_encode(&stream, homerobot_DiagnosticResult_fields, &result)) {
                proto_handler_.send_rpc_response(k_uptime_get_32(), msg.payload.rpc_request.call_id, buffer, stream.bytes_written);
            } else {
                LOG_ERR("Failed to encode DiagnosticResult");
                proto_handler_.send_rpc_response(k_uptime_get_32(), msg.payload.rpc_request.call_id, nullptr, 0, "Encode error");
            }
        }
    }
    else if (msg.which_payload == homerobot_ServerToRobotMessage_lidar_control_tag) {
        bool active = msg.payload.lidar_control.active;
        float freq = msg.payload.lidar_control.target_frequency_hz;
        if (freq >= 5.0f && freq <= 10.0f) {
            lidar_frequency_ = freq;
            lidar_.set_target_frequency(freq);
        }
        LOG_INF("RPC: Lidar control received: active=%s, freq=%.1f Hz", active ? "true" : "false", (double)lidar_frequency_);
        if (active) lidar_.start();
        else lidar_.stop();
    }
    else if (msg.which_payload == homerobot_ServerToRobotMessage_stop_all_tag) {
        LOG_INF("RPC: Stop all received");
        motion_active_ = false;
        motor_sx_.set_manual_power(BRAKE, 0);
        motor_dx_.set_manual_power(BRAKE, 0);
        lidar_.stop();
    }
}

void Robot::send_telemetry() {
    uint32_t now = k_uptime_get_32();

    // Fast telemetry (IMU & Encoders) - 100ms
    if (now - last_fast_telemetry_ms_ >= 100) {
        bool imu_ok = imu_.update();
        float ax = 0, ay = 0, az = 0, gx = 0, gy = 0, gz = 0;
        
        if (imu_ok) {
            imu_.get_accel(ax, ay, az);
            imu_.get_gyro(gx, gy, gz);
            proto_handler_.send_imu_data(now, ax, ay, az, gx, gy, gz);
        }
        int32_t current_sx = motor_sx_.get_position();
        int32_t current_dx = motor_dx_.get_position();
        int32_t delta_sx = current_sx - last_sent_enc_sx_;
        int32_t delta_dx = current_dx - last_sent_enc_dx_;
        if (delta_sx != 0 || delta_dx != 0) {
            proto_handler_.send_encoders_data(now, delta_sx, delta_dx);
            last_sent_enc_sx_ = current_sx;
            last_sent_enc_dx_ = current_dx;
        }
        last_fast_telemetry_ms_ = now;

        // LiDAR Loop
        lidar_.loop(&proto_handler_);

        // Serial log for IMU - 1000ms
        if (now - last_imu_log_ms_ >= 1000) {
            if (imu_ok) {
                LOG_INF("[IMU] Acc: X=%.2f Y=%.2f Z=%.2f | Gyro: X=%.2f Y=%.2f Z=%.2f", 
                               (double)ax, (double)ay, (double)az, (double)gx, (double)gy, (double)gz);
            } else {
                LOG_ERR("[IMU] ERROR: Failed to update sensor data");
            }
            last_imu_log_ms_ = now;
        }
    }

    // Slow telemetry (Battery) - 5000ms
    if (now - last_telemetry_ms_ >= 5000) {
        proto_handler_.send_battery_status(now, battery_.get_percentage(), 
                                           battery_.get_voltage_mv(), battery_.read_raw());
        last_telemetry_ms_ = now;
    }
}
```

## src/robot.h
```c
#pragma once

#include <zephyr/kernel.h>
#include <zephyr/drivers/gpio.h>
#include <zephyr/drivers/pwm.h>
#include <zephyr/drivers/adc.h>

#include "actuator/status_led.h"
#include "actuator/motor.h"
#include "sensors/lidar.h"
#include "sensors/battery.h"
#include "sensors/encoders.h"
#include "sensors/imu.h"
#include "communication/wifi_manager.h"
#include "communication/zephyr_net_client.h"
#include "communication/protobuf_handler.h"
#include "diagnostic.h"

enum class RobotState {
    POWER_CHECK,
    INITIALIZE_HARDWARE,
    WIFI_CONNECTING,
    SERVER_CONNECTING,
    OPERATIONAL
};

class Robot {
public:
    Robot();
    void setup();
    void loop();

private:
    // State machine
    RobotState state_ = RobotState::POWER_CHECK;
    void set_state(RobotState new_state);
    const char* state_to_string(RobotState state);
    void handle_power_check();
    void handle_initialize_hardware();
    void handle_wifi_connecting();
    void handle_server_connecting();
    void handle_operational();

    // Helpers
    void send_telemetry();
    void process_commands();
    void handle_server_message(homerobot_ServerToRobotMessage& msg);

    // Hardware Components
    StatusLed status_led_;
    Battery battery_;
    Lidar lidar_;
    Imu imu_;
    Encoders enc_sx_;
    Encoders enc_dx_;
    Motor motor_sx_;
    Motor motor_dx_;

    // Communication
    WifiManager& wifi_;
    ZephyrNetClient net_client_;
    ProtobufHandler proto_handler_;
    Diagnostic diagnostic_;

    // Configuration & State
    float motor_kp_ = 1.0f;
    float motor_ki_ = 0.01f;
    float motor_kd_ = 0.1f;
    float lidar_frequency_ = 5.0f;

    uint32_t last_telemetry_ms_ = 0;
    uint32_t last_fast_telemetry_ms_ = 0;
    uint32_t last_imu_log_ms_ = 0;

    bool motion_active_ = false;
    uint32_t active_motion_call_id_ = 0;
    uint32_t motion_start_time_ms_ = 0;
    bool hardware_initialized_ = false;

    int32_t last_sent_enc_sx_ = 0;
    int32_t last_sent_enc_dx_ = 0;
    
    uint32_t disconnect_time_ms_ = 0;
    bool lidar_stopped_due_to_disconnect_ = true;

    // DT Specs (passed to constructors in initializer list)
    static const struct device *const lidar_uart_dev;
    static const struct pwm_dt_spec lidar_pwm;
    static const struct device *const adc_dev;
    static const struct device *const imu_dev;
    static const struct pwm_dt_spec motor_sx_fwd;
    static const struct pwm_dt_spec motor_sx_bwd;
    static const struct pwm_dt_spec motor_dx_fwd;
    static const struct pwm_dt_spec motor_dx_bwd;
    static const struct device *const encoder_dev;
};
```

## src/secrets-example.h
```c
#pragma once

#include <cstdint>

inline const char* wifi_ssid = "WiFi name";
inline const char* wifi_password = "WiFi password";

// Server details
inline const char* wifi_server_host = "192.168.1.1";
inline constexpr uint16_t wifi_server_port = 12345;
```

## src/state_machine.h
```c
#ifndef ROBOT_H
#define ROBOT_H

#include "Arduino.h"
#include "actuator/motor.h"
#include "communication/protocol.h"
#include "sensors/imu.h"
#include "sensors/lidar.h"

// Constants
#define FAST_REFRESH_HZ 500
#define SLOW_REFRESH_HZ 1000

// Robot states enum
enum ROBOT_STATE {
    IDLE = 0,
    STOP,
    LIDAR,
    WIFI_HARD,
    MOTOR_GO
};

// Function declarations
void set_refresh(unsigned long refresh);
void do_refresh();
void print_esp_state();
ROBOT_STATE serial_commands();
ROBOT_STATE wifi_commands(Protocol* protocol, Lidar* lidar, IMU* imu);
void apply_state(ROBOT_STATE state, Lidar* lidar, IMU* imu);

#endif // ROBOT_H
```
